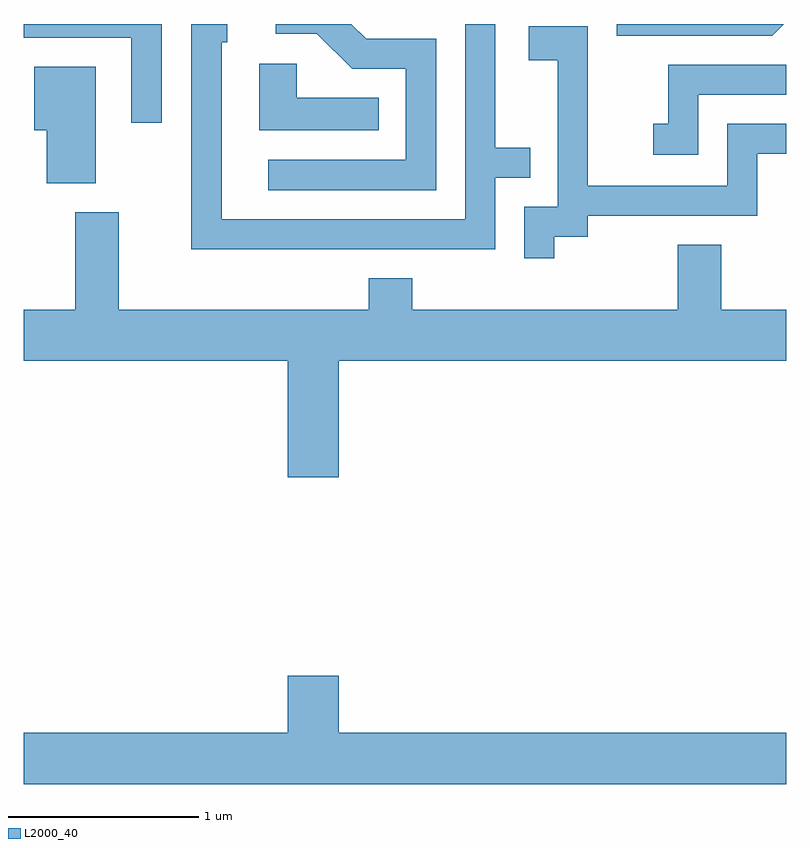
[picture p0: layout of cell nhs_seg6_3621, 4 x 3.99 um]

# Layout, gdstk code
import gdstk
lib = gdstk.Library(unit=1e-6, precision=1e-09)
def P(c, l, *ps):  # polygons
    for p in ps: c.add(gdstk.Polygon(p, *l))
L2000_40 = (2000, 40)

nhs_seg6_3621 = lib.new_cell('nhs_seg6_3621')
P(nhs_seg6_3621, L2000_40, [(294.334,1636.162),(293.611,1636.162),(293.611,1636.091),(294.176,1636.091),(294.176,1635.643),(294.334,1635.643)],
  [(296.084,1635.356),(296.268,1635.356),(296.268,1635.514),(296.084,1635.514),(296.084,1636.162),(295.926,1636.162),(295.926,1635.139),(294.649,1635.139),(294.649,1636.066),(294.679,1636.066),(294.679,1636.162),(294.491,1636.162),(294.491,1634.981),(296.084,1634.981)],
  [(297.598,1636.162),(296.721,1636.162),(296.721,1636.101),(297.537,1636.101)],
  [(295.774,1636.084),(295.407,1636.084),(295.329,1636.162),(294.933,1636.162),(294.933,1636.111),(295.149,1636.111),(295.334,1635.926),(295.616,1635.926),(295.616,1635.449),(294.893,1635.449),(294.893,1635.291),(295.774,1635.291)],
  [(296.394,1635.046),(296.569,1635.046),(296.569,1635.156),(297.459,1635.156),(297.459,1635.481),(297.611,1635.481),(297.611,1635.639),(297.301,1635.639),(297.301,1635.314),(296.569,1635.314),(296.569,1636.149),(296.261,1636.149),(296.261,1635.971),(296.411,1635.971),(296.411,1635.204),(296.236,1635.204),(296.236,1634.933),(296.394,1634.933)],
  [(295.473,1635.774),(295.044,1635.774),(295.044,1635.954),(294.846,1635.954),(294.846,1635.606),(295.473,1635.606)],
  [(297.149,1635.791),(297.611,1635.791),(297.611,1635.949),(296.991,1635.949),(296.991,1635.639),(296.913,1635.639),(296.913,1635.476),(297.149,1635.476)],
  [(293.989,1635.939),(293.666,1635.939),(293.666,1635.606),(293.731,1635.606),(293.731,1635.326),(293.989,1635.326)],
  [(295.264,1634.396),(297.611,1634.396),(297.611,1634.664),(297.269,1634.664),(297.269,1635.004),(297.041,1635.004),(297.041,1634.664),(295.649,1634.664),(295.649,1634.829),(295.421,1634.829),(295.421,1634.664),(294.109,1634.664),(294.109,1635.174),(293.881,1635.174),(293.881,1634.664),(293.611,1634.664),(293.611,1634.396),(294.996,1634.396),(294.996,1633.786),(295.264,1633.786)],
  [(297.611,1632.444),(295.264,1632.444),(295.264,1632.744),(294.996,1632.744),(294.996,1632.444),(293.611,1632.444),(293.611,1632.176),(297.611,1632.176)])

lib.write_gds('nhs_seg6_3621.gds')
